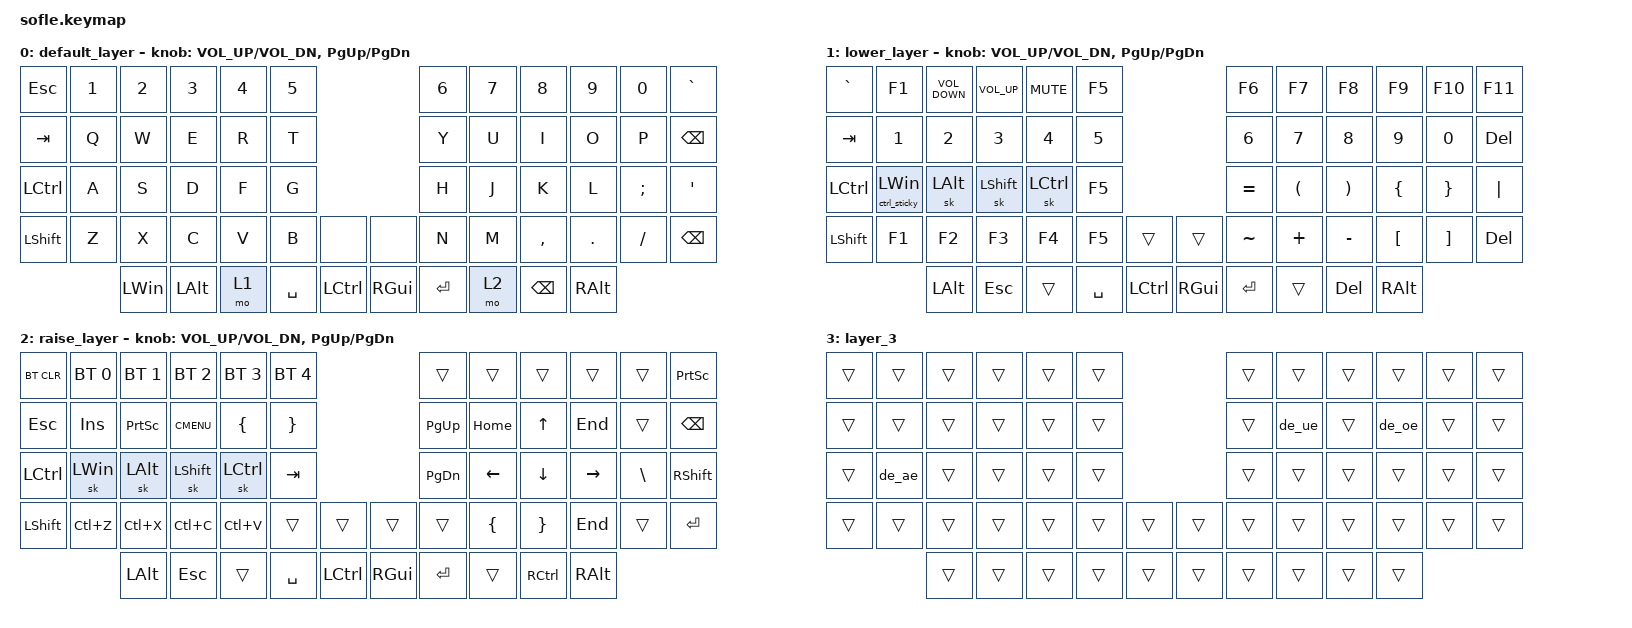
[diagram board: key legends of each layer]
/*
 * Copyright (c) 2020 The ZMK Contributors
 *
 * SPDX-License-Identifier: MIT
 */

#include <behaviors.dtsi>
#include <dt-bindings/zmk/bt.h>
#include <dt-bindings/zmk/keys.h>

#include "zmk-helpers/helper.h"
// Source desired key-position labels
#include "zmk-helpers/key-labels/sofle.h"
// Source unicode-chars for desired languages
#include "zmk-helpers/unicode-chars/german.dtsi"

#define DEF 0
#define FN 1
#define NAV 2
#define SYS 3

ZMK_CONDITIONAL_LAYER(sys, FN NAV, SYS) // FN + NAV --> SYS.

/ {
    behaviors {
        ctrl_sticky: ctrl_sticky {
            compatible = "zmk,behavior-sticky-key";
            label = "CTRL_STICKY";
            bindings = <&sk>;
            #binding-cells = <1>;
            release-after-ms = <500>;
        };
    };

    combos {
        compatible = "zmk,combos";

        Print {
            bindings = <&trans>;
            key-positions = <16 22>;
            layers = <2>;
        };
    };

    keymap {
        compatible = "zmk,keymap";

        default_layer {
            // ------------------------------------------------------------------------------------------------------------
            // |   `   |  1  |  2  |  3   |  4   |  5   |                   |  6   |  7    |  8    |  9   |   0   |   -   |
            // |  TAB  |  Q  |  W  |  E   |  R   |  T   |                   |  Y   |  U    |  I    |  O   |   P   | BKSPC |
            // | SHIFT |  A  |  S  |  D   |  F   |  G   |                   |  H   |  J    |  K    |  L   |   ;   | '     |
            // | CTRL  |  Z  |  X  |  C   |  V   |  B   |        |  |       |  N   |  M    |  ,    |  .   |   /   | SHIFT |
            //               | ALT | ESC  | LOWER|SPACE |  GUI   |  | RGUI | ENTER| RAISE | CTRL  | ALT  |

            bindings = <
&kp ESCAPE      &kp N1  &kp N2        &kp N3        &kp N4  &kp N5                           &kp N6     &kp N7  &kp N8         &kp N9    &kp N0    &kp GRAVE
&kp TAB         &kp Q   &kp W         &kp E         &kp R   &kp T                            &kp Y      &kp U   &kp I          &kp O     &kp P     &kp BACKSPACE
&kp LCTRL       &kp A   &kp S         &kp D         &kp F   &kp G                            &kp H      &kp J   &kp K          &kp L     &kp SEMI  &kp APOSTROPHE
&kp LEFT_SHIFT  &kp Z   &kp X         &kp C         &kp V   &kp B      &none        &none    &kp N      &kp M   &kp COMMA      &kp DOT   &kp FSLH  &kp BACKSPACE
                        &kp LEFT_WIN  &kp LEFT_ALT  &mo 1   &kp SPACE  &kp LCTRL    &kp RGUI  &kp RET  &mo 2   &kp BACKSPACE  &kp RALT
            >;

            sensor-bindings = <&inc_dec_kp C_VOL_UP C_VOL_DN &inc_dec_kp PG_UP PG_DN>;
        };

        lower_layer {
            // TODO: Some binds are waiting for shifted keycode support.
            // ------------------------------------------------------------------------------------------------------------
            // |       |  F1 |  F2 |  F3  |  F4  |  F5  |                   |  F6  |  F7   |  F8   |  F9  |  F10  |  F11  |
            // |  TAB  |   1 |VOL_D|VOL_U | MUTE |   5  |                   |      |  [    |  ]    |  0   |  F12  | DEL
            // | SHIFT |  !  |  @  |  #   |  $   |  %   |                   |  =   |  (    |  )    |  ^   |   &   | SHIFT |
            // | CTRL  |  =  |  -  |  +   |  [   |  ]   |       |  |        |      |  {    |  }    |  :   |   \   |   |   |
            //               | ALT | CTRL |      | SPACE|  LCTRL  |  | GUI  | ENTER|       | CTRL  | ALT  |

            bindings = <
&kp GRAVE       &kp F1                 &kp C_VOLUME_DOWN  &kp C_VOLUME_UP  &kp C_MUTE    &kp F5                           &kp F6        &kp F7                &kp F8                 &kp F9            &kp F10            &kp F11
&kp TAB         &kp N1                 &kp NUMBER_2       &kp NUMBER_3     &kp NUMBER_4  &kp N5                           &kp NUMBER_6  &kp N7                &kp N8                 &kp N9            &kp N0             &kp DEL
&kp LCTRL       &ctrl_sticky LEFT_WIN  &sk LEFT_ALT       &sk LEFT_SHIFT   &sk LCTRL     &kp F5                           &kp EQUAL     &kp LEFT_PARENTHESIS  &kp RIGHT_PARENTHESIS  &kp LEFT_BRACE    &kp RIGHT_BRACE    &kp PIPE
&kp LEFT_SHIFT  &kp F1                 &kp F2             &kp F3           &kp F4        &kp F5     &trans       &trans   &kp TILDE     &kp PLUS              &kp MINUS              &kp LEFT_BRACKET  &kp RIGHT_BRACKET  &kp DELETE
                                       &kp LALT           &kp ESC          &trans        &kp SPACE  &kp LCTRL    &kp RGUI  &kp RET     &trans                &kp DEL                &kp RALT
            >;

            sensor-bindings = <&inc_dec_kp C_VOL_UP C_VOL_DN &inc_dec_kp PG_UP PG_DN>;
        };

        raise_layer {
            // ------------------------------------------------------------------------------------------------------------
            // |BTCLR | BT1  | BT2  | BT3  |  BT4  |  BT5 |                 |      |       |       |      |       |BTCLR  |
            // | TAB  | INS  | PSCR | GUI  |       |      |                 |      | PGUP  |   ^   | PGDN |       | DEL   |
            // | SHIF | ALT  | CTRL |SHIFT |       | CAPS |                 |      |   <-  |   v   |  ->  |  DEL  | SHIFT |
            // | CTRL | UNDO | CUT  | COPY | PASTE |      |      |  |       |      | HOME  |       | END  |       | ENTER |
            //               | ALT  | CTRL |       | SPACE|  GUI |  | GUI | ENTER|       | CTRL  | ALT  |

            bindings = <
&bt BT_CLR  &bt BT_SEL 0  &bt BT_SEL 1  &bt BT_SEL 2    &bt BT_SEL 3    &bt BT_SEL 4                           &trans         &trans          &trans           &trans     &trans         &kp PRINTSCREEN
&kp ESC     &kp INS       &kp PSCRN     &kp K_CMENU     &kp LEFT_BRACE  &kp RIGHT_BRACE                        &kp PAGE_UP    &kp HOME        &kp UP           &kp END    &trans         &kp BACKSPACE
&kp LCTRL   &sk LEFT_WIN  &sk LEFT_ALT  &sk LEFT_SHIFT  &sk LCTRL       &kp TAB                                &kp PAGE_DOWN  &kp LEFT        &kp DOWN         &kp RIGHT  &kp BACKSLASH  &kp RSHFT
&kp LSHFT   &kp LC(Z)     &kp LC(X)     &kp LC(C)       &kp LC(V)       &trans           &trans       &trans   &trans         &kp LEFT_BRACE  &kp RIGHT_BRACE  &kp END    &trans         &kp RET
                          &kp LALT      &kp ESC         &trans           &kp SPACE        &kp LCTRL    &kp RGUI  &kp RET      &trans          &kp RCTRL        &kp RALT
            >;

            sensor-bindings = <&inc_dec_kp C_VOL_UP C_VOL_DN &inc_dec_kp PG_UP PG_DN>;
        };

        layer_3 {
            bindings = <
&trans  &trans  &trans  &trans  &trans  &trans                    &trans  &trans  &trans  &trans  &trans  &trans
&trans  &trans  &trans  &trans  &trans  &trans                    &trans  &de_ue  &trans  &de_oe  &trans  &trans
&trans  &de_ae  &trans  &trans  &trans  &trans                    &trans  &trans  &trans  &trans  &trans  &trans
&trans  &trans  &trans  &trans  &trans  &trans  &trans    &trans  &trans  &trans  &trans  &trans  &trans  &trans
                &trans  &trans  &trans  &trans  &trans    &trans  &trans  &trans  &trans  &trans
            >;
        };
    };
};
